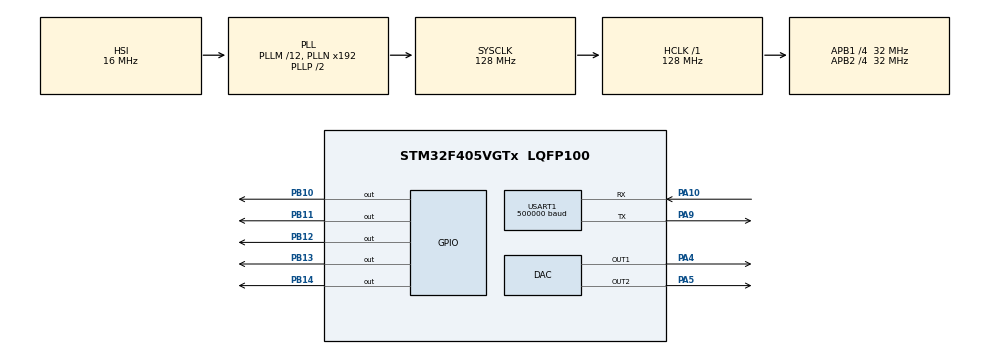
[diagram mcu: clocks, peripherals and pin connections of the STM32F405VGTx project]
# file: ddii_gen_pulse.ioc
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Mcu.Family=STM32F4
Mcu.Name=STM32F405VGTx
Mcu.Package=LQFP100
NVIC.PriorityGroup=NVIC_PRIORITYGROUP_4
PA10.Mode=Asynchronous
PA10.Signal=USART1_RX
PA4.Signal=COMP_DAC1_group
PA5.Signal=COMP_DAC2_group
PA9.Mode=Asynchronous
PA9.Signal=USART1_TX
PB10.Signal=GPIO_Output
PB11.Signal=GPIO_Output
PB12.Signal=GPIO_Output
PB13.Signal=GPIO_Output
PB14.Signal=GPIO_Output
ProjectManager.HeapSize=0x200
ProjectManager.StackSize=0x400
ProjectManager.TargetToolchain=Makefile
RCC.48MHZClocksFreq_Value=64000000
RCC.AHBFreq_Value=128000000
RCC.APB1CLKDivider=RCC_HCLK_DIV4
RCC.APB1Freq_Value=32000000
RCC.APB1TimFreq_Value=64000000
RCC.APB2CLKDivider=RCC_HCLK_DIV4
RCC.APB2Freq_Value=32000000
RCC.APB2TimFreq_Value=64000000
RCC.CortexFreq_Value=128000000
RCC.HCLKFreq_Value=128000000
RCC.HSE_VALUE=25000000
RCC.HSI_VALUE=16000000
RCC.LSE_VALUE=32768
RCC.PLLM=12
RCC.SYSCLKFreq_VALUE=128000000
RCC.SYSCLKSource=RCC_SYSCLKSOURCE_PLLCLK
RCC.VCOOutputFreq_Value=256000000
SH.COMP_DAC1_group.0=DAC_OUT1,DAC_OUT1
SH.COMP_DAC2_group.0=DAC_OUT2,DAC_OUT2
USART1.BaudRate=500000
USART1.VirtualMode=VM_ASYNC
board=custom

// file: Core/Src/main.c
/* USER CODE BEGIN Header */
/**
  ******************************************************************************
  * @file           : main.c
  * @brief          : Main program body
  ******************************************************************************
  * @attention
  *
  * Copyright (c) 2025 STMicroelectronics.
  * All rights reserved.
  *
  * This software is licensed under terms that can be found in the LICENSE file
  * in the root directory of this software component.
  * If no LICENSE file comes with this software, it is provided AS-IS.
  *
  ******************************************************************************
  */
/* USER CODE END Header */
#include "main.h"

/* USER CODE BEGIN Includes */
#define  CMD_GP_SET_PARAMS    1
#define  CMD_GP_GENERATE      2
#define  CMD_DP_GENERATE      3
uint8_t Buff[256];
/* USER CODE END Includes */

DAC_HandleTypeDef hdac;

UART_HandleTypeDef huart1;

/* USER CODE BEGIN PV */
static uint16_t DAC1_Level;
static uint16_t DAC2_Level;
static uint8_t DIN_Data;
static uint8_t PulseWidth;
/* USER CODE END PV */

void SystemClock_Config(void);
static void MX_GPIO_Init(void);
static void MX_DAC_Init(void);
static void MX_USART1_UART_Init(void);
/* USER CODE BEGIN PFP */
static void DWT_Init(void);
static void Delay_us(uint32_t us);
static void DAC_Generate(uint16_t dac1, uint16_t dac2, uint8_t din, uint8_t width_time_us);
static void DIN_Generate(uint8_t din, uint8_t width_time_us);
/* USER CODE END PFP */

/* USER CODE BEGIN 0 */
static void DWT_Init(void)
{
  if ((CoreDebug->DEMCR & CoreDebug_DEMCR_TRCENA_Msk) == 0U)
  {
    CoreDebug->DEMCR |= CoreDebug_DEMCR_TRCENA_Msk;
  }

  DWT->CYCCNT = 0U;
  DWT->CTRL |= DWT_CTRL_CYCCNTENA_Msk;
}

static void Delay_us(uint32_t us)
{
  if (us == 0U)
  {
    return;
  }

  const uint32_t cycles_per_us = SystemCoreClock / 1000000U;
  const uint32_t start = DWT->CYCCNT;
  const uint32_t ticks = cycles_per_us * us;
  while ((DWT->CYCCNT - start) < ticks)
  {
  }
}

static void DAC_Generate(uint16_t dac1, uint16_t dac2, uint8_t din, uint8_t width_time_us)
{
  dac1 &= 0x0FFFu;
  dac2 &= 0x0FFFu;

  (void)HAL_DAC_SetValue(&hdac, DAC_CHANNEL_1, DAC_ALIGN_12B_R, dac1);
  (void)HAL_DAC_SetValue(&hdac, DAC_CHANNEL_2, DAC_ALIGN_12B_R, dac2);

  const uint32_t primask = __get_PRIMASK();
  __disable_irq();

  GPIOB->BSRR = ((uint32_t)(din & 0x1Fu)) << 10;
  // hdac.Instance->SWTRIGR = DAC_SWTRIGR_SWTRIG1 | DAC_SWTRIGR_SWTRIG2;

  Delay_us(width_time_us);
  hdac.Instance->SWTRIGR = DAC_SWTRIGR_SWTRIG1 | DAC_SWTRIGR_SWTRIG2;
  (void)HAL_DAC_SetValue(&hdac, DAC_CHANNEL_1, DAC_ALIGN_12B_R, 0U);
  (void)HAL_DAC_SetValue(&hdac, DAC_CHANNEL_2, DAC_ALIGN_12B_R, 0U);
  Delay_us(1);
  GPIOB->BSRR = ((uint32_t)0x1Fu) << (10 + 16);

  if (primask == 0U)
  {
    __enable_irq();
  }
}

static void DIN_Generate(uint8_t din, uint8_t width_time_us)
{
  const uint32_t primask = __get_PRIMASK();
  __disable_irq();
  uint8_t i, io;
  for(i = 0; i < 5; i++){
    io = (din >> (i)) & 0x1;
    GPIOB->BSRR |= ((uint32_t)(io & 0x1Fu)) << 10+i ;
  }
  // GPIOB->BSRR = ((uint32_t)(din & 0x1Fu)) << 10;
  Delay_us(width_time_us);
  for(i = 0; i < 5; i++){
    io = (din >> (i)) & 0x1;
    GPIOB->BSRR |= ((uint32_t)(io & 0x1Fu)) << 10+16+i ;
  }
  // GPIOB->BSRR = ((uint32_t)0x1Fu) << (10 + 16);

  if (primask == 0U)
  {
    __enable_irq();
  }
}

/* USER CODE END 0 */

int main(void)
{

  /* MCU Configuration--------------------------------------------------------*/

  /* Reset of all peripherals, Initializes the Flash interface and the Systick. */
  HAL_Init();

  /* Configure the system clock */
  SystemClock_Config();

  /* Initialize all configured peripherals */
  MX_GPIO_Init();
  MX_DAC_Init();
  MX_USART1_UART_Init();
  /* USER CODE BEGIN 2 */
  DWT_Init();

  if (HAL_DAC_Start(&hdac, DAC_CHANNEL_1) != HAL_OK)
  {
    Error_Handler();
  }
  if (HAL_DAC_Start(&hdac, DAC_CHANNEL_2) != HAL_OK)
  {
    Error_Handler();
  }

  (void)HAL_DAC_SetValue(&hdac, DAC_CHANNEL_1, DAC_ALIGN_12B_R, 0U);
  (void)HAL_DAC_SetValue(&hdac, DAC_CHANNEL_2, DAC_ALIGN_12B_R, 0U);
  hdac.Instance->SWTRIGR = DAC_SWTRIGR_SWTRIG1 | DAC_SWTRIGR_SWTRIG2;

  /* USER CODE END 2 */

  /* Infinite loop */
  /* USER CODE BEGIN WHILE */
  while (1)
  {
    uint8_t c;
    if (HAL_UART_Receive(&huart1, &c, 1, 0) == HAL_OK)
    {
      switch (c)
      {
        case CMD_GP_SET_PARAMS:
          if (HAL_UART_Receive(&huart1, Buff, 6, 20) == HAL_OK)
            DAC1_Level = ((uint16_t)Buff[0] << 8) | Buff[1];
            DAC2_Level = ((uint16_t)Buff[2] << 8) | Buff[3];
            DIN_Data = Buff[4];
            PulseWidth = Buff[5];
            (void)HAL_UART_Transmit(&huart1, &c, 1, 10);
          break;
        case CMD_GP_GENERATE:
          DAC_Generate(DAC1_Level, DAC2_Level, DIN_Data, PulseWidth);
          (void)HAL_UART_Transmit(&huart1, &c, 1, 10);
          break;
        case CMD_DP_GENERATE:
          if (HAL_UART_Receive(&huart1, Buff, 6, 20) == HAL_OK)
          DIN_Data = Buff[4];
          PulseWidth = Buff[5];
          DIN_Generate(DIN_Data, PulseWidth);
          (void)HAL_UART_Transmit(&huart1, &c, 1, 10);
        default:
          break;
      }
    }
    /* USER CODE END WHILE */

  }
}

void SystemClock_Config(void)
{
  RCC_OscInitTypeDef RCC_OscInitStruct = {0};
  RCC_ClkInitTypeDef RCC_ClkInitStruct = {0};

  /** Configure the main internal regulator output voltage
  */
  __HAL_RCC_PWR_CLK_ENABLE();
  __HAL_PWR_VOLTAGESCALING_CONFIG(PWR_REGULATOR_VOLTAGE_SCALE1);

  /** Initializes the RCC Oscillators according to the specified parameters
  * in the RCC_OscInitTypeDef structure.
  */
  RCC_OscInitStruct.OscillatorType = RCC_OSCILLATORTYPE_HSI;
  RCC_OscInitStruct.HSIState = RCC_HSI_ON;
  RCC_OscInitStruct.HSICalibrationValue = RCC_HSICALIBRATION_DEFAULT;
  RCC_OscInitStruct.PLL.PLLState = RCC_PLL_ON;
  RCC_OscInitStruct.PLL.PLLSource = RCC_PLLSOURCE_HSI;
  RCC_OscInitStruct.PLL.PLLM = 12;
  RCC_OscInitStruct.PLL.PLLN = 192;
  RCC_OscInitStruct.PLL.PLLP = RCC_PLLP_DIV2;
  RCC_OscInitStruct.PLL.PLLQ = 4;
  if (HAL_RCC_OscConfig(&RCC_OscInitStruct) != HAL_OK)
  {
    Error_Handler();
  }

  /** Initializes the CPU, AHB and APB buses clocks
  */
  RCC_ClkInitStruct.ClockType = RCC_CLOCKTYPE_HCLK|RCC_CLOCKTYPE_SYSCLK
                              |RCC_CLOCKTYPE_PCLK1|RCC_CLOCKTYPE_PCLK2;
  RCC_ClkInitStruct.SYSCLKSource = RCC_SYSCLKSOURCE_PLLCLK;
  RCC_ClkInitStruct.AHBCLKDivider = RCC_SYSCLK_DIV1;
  RCC_ClkInitStruct.APB1CLKDivider = RCC_HCLK_DIV4;
  RCC_ClkInitStruct.APB2CLKDivider = RCC_HCLK_DIV4;

  if (HAL_RCC_ClockConfig(&RCC_ClkInitStruct, FLASH_LATENCY_4) != HAL_OK)
  {
    Error_Handler();
  }
}

static void MX_DAC_Init(void)
{

  DAC_ChannelConfTypeDef sConfig = {0};

  /** DAC Initialization
  */
  hdac.Instance = DAC;
  if (HAL_DAC_Init(&hdac) != HAL_OK)
  {
    Error_Handler();
  }

  /** DAC channel OUT1 config
  */
  sConfig.DAC_Trigger = DAC_TRIGGER_NONE;
  sConfig.DAC_OutputBuffer = DAC_OUTPUTBUFFER_ENABLE;
  if (HAL_DAC_ConfigChannel(&hdac, &sConfig, DAC_CHANNEL_1) != HAL_OK)
  {
    Error_Handler();
  }

  /** DAC channel OUT2 config
  */
  if (HAL_DAC_ConfigChannel(&hdac, &sConfig, DAC_CHANNEL_2) != HAL_OK)
  {
    Error_Handler();
  }

}

static void MX_USART1_UART_Init(void)
{

  huart1.Instance = USART1;
  huart1.Init.BaudRate = 500000;
  huart1.Init.WordLength = UART_WORDLENGTH_8B;
  huart1.Init.StopBits = UART_STOPBITS_1;
  huart1.Init.Parity = UART_PARITY_NONE;
  huart1.Init.Mode = UART_MODE_TX_RX;
  huart1.Init.HwFlowCtl = UART_HWCONTROL_NONE;
  huart1.Init.OverSampling = UART_OVERSAMPLING_16;
  if (HAL_UART_Init(&huart1) != HAL_OK)
  {
    Error_Handler();
  }

}

static void MX_GPIO_Init(void)
{
  GPIO_InitTypeDef GPIO_InitStruct = {0};

  /* GPIO Ports Clock Enable */
  __HAL_RCC_GPIOA_CLK_ENABLE();
  __HAL_RCC_GPIOB_CLK_ENABLE();

  /*Configure GPIO pin Output Level */
  HAL_GPIO_WritePin(GPIOB, GPIO_PIN_10|GPIO_PIN_11|GPIO_PIN_12|GPIO_PIN_13
                          |GPIO_PIN_14, GPIO_PIN_RESET);

  /*Configure GPIO pins : PB10 PB11 PB12 PB13
                           PB14 */
  GPIO_InitStruct.Pin = GPIO_PIN_10|GPIO_PIN_11|GPIO_PIN_12|GPIO_PIN_13
                          |GPIO_PIN_14;
  GPIO_InitStruct.Mode = GPIO_MODE_OUTPUT_PP;
  GPIO_InitStruct.Pull = GPIO_NOPULL;
  GPIO_InitStruct.Speed = GPIO_SPEED_FREQ_LOW;
  HAL_GPIO_Init(GPIOB, &GPIO_InitStruct);

}

void Error_Handler(void)
{
  __disable_irq();
  while (1)
  {
  }
}
